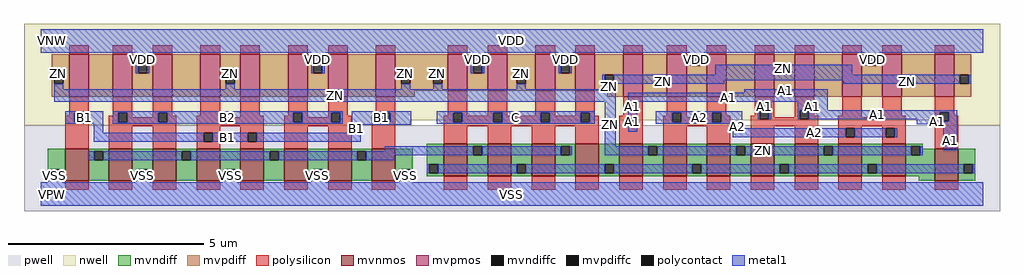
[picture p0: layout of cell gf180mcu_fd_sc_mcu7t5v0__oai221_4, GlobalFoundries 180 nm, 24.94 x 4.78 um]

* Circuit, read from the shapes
.subckt gf180mcu_fd_sc_mcu7t5v0__oai221_4 A1 A2 B1 B2 C ZN VDD VNW VPW VSS
XM1 n1 B1 VSS VPW nfet_06v0 w=0.82u l=0.6u m=4
XM2 VSS B2 n1 VPW nfet_06v0 w=0.82u l=0.6u m=4
XM3 n1 C n2 VPW nfet_06v0 w=0.82u l=0.6u m=4
XM4 ZN A1 n2 VPW nfet_06v0 w=0.82u l=0.6u m=4
XM5 n2 A2 ZN VPW nfet_06v0 w=0.82u l=0.6u m=4
XM6 n3 B1 ZN VNW pfet_06v0 w=1.095u l=0.5u
XM7 VDD B2 n3 VNW pfet_06v0 w=1.095u l=0.5u
XM8 n4 B2 VDD VNW pfet_06v0 w=1.095u l=0.5u
XM9 ZN B1 n4 VNW pfet_06v0 w=1.095u l=0.5u
XM10 n5 B1 ZN VNW pfet_06v0 w=1.095u l=0.5u
XM11 VDD B2 n5 VNW pfet_06v0 w=1.095u l=0.5u
XM12 n6 B2 VDD VNW pfet_06v0 w=1.095u l=0.5u
XM13 ZN B1 n6 VNW pfet_06v0 w=1.095u l=0.5u
XM14 VDD C ZN VNW pfet_06v0 w=0.935u l=0.5u m=4
XM15 n7 A1 ZN VNW pfet_06v0 w=1.095u l=0.5u
XM16 VDD A2 n7 VNW pfet_06v0 w=1.095u l=0.5u
XM17 n8 A2 VDD VNW pfet_06v0 w=1.095u l=0.5u
XM18 ZN A1 n8 VNW pfet_06v0 w=1.095u l=0.5u
XM19 n9 A1 ZN VNW pfet_06v0 w=1.095u l=0.5u
XM20 VDD A2 n9 VNW pfet_06v0 w=1.095u l=0.5u
XM21 n10 A2 VDD VNW pfet_06v0 w=1.095u l=0.5u
XM22 ZN A1 n10 VNW pfet_06v0 w=1.095u l=0.5u
.ends

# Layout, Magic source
magic
tech gf180mcuD
magscale 1 10
<< nwell >>
rect -86 377 4902 870
rect -86 352 1889 377
rect 4588 352 4902 377
<< pwell >>
rect -86 -86 4902 352
<< mvnmos >>
rect 124 68 244 232
rect 348 68 468 232
rect 572 68 692 232
rect 796 68 916 232
rect 1020 68 1140 232
rect 1244 68 1364 232
rect 1468 68 1588 232
rect 1692 68 1812 232
rect 2060 93 2180 257
rect 2284 93 2404 257
rect 2508 93 2628 257
rect 2732 93 2852 257
rect 2956 93 3076 257
rect 3180 93 3300 257
rect 3404 93 3524 257
rect 3628 93 3748 257
rect 3852 93 3972 257
rect 4076 93 4196 257
rect 4300 93 4420 257
rect 4568 68 4688 232
<< mvpmos >>
rect 144 497 244 716
rect 368 497 468 716
rect 572 497 672 716
rect 816 497 916 716
rect 1020 497 1120 716
rect 1264 497 1364 716
rect 1468 497 1568 716
rect 1712 497 1812 716
rect 2080 529 2180 716
rect 2284 529 2384 716
rect 2528 529 2628 716
rect 2732 529 2832 716
rect 2976 497 3076 716
rect 3200 497 3300 716
rect 3404 497 3504 716
rect 3648 497 3748 716
rect 3852 497 3952 716
rect 4096 497 4196 716
rect 4300 497 4400 716
rect 4568 497 4668 716
<< mvndiff >>
rect 36 127 124 232
rect 36 81 49 127
rect 95 81 124 127
rect 36 68 124 81
rect 244 219 348 232
rect 244 173 273 219
rect 319 173 348 219
rect 244 68 348 173
rect 468 127 572 232
rect 468 81 497 127
rect 543 81 572 127
rect 468 68 572 81
rect 692 219 796 232
rect 692 173 721 219
rect 767 173 796 219
rect 692 68 796 173
rect 916 127 1020 232
rect 916 81 945 127
rect 991 81 1020 127
rect 916 68 1020 81
rect 1140 219 1244 232
rect 1140 173 1169 219
rect 1215 173 1244 219
rect 1140 68 1244 173
rect 1364 127 1468 232
rect 1364 81 1393 127
rect 1439 81 1468 127
rect 1364 68 1468 81
rect 1588 219 1692 232
rect 1588 173 1617 219
rect 1663 173 1692 219
rect 1588 68 1692 173
rect 1812 127 1900 232
rect 1812 81 1841 127
rect 1887 81 1900 127
rect 1972 152 2060 257
rect 1972 106 1985 152
rect 2031 106 2060 152
rect 1972 93 2060 106
rect 2180 244 2284 257
rect 2180 198 2209 244
rect 2255 198 2284 244
rect 2180 93 2284 198
rect 2404 152 2508 257
rect 2404 106 2433 152
rect 2479 106 2508 152
rect 2404 93 2508 106
rect 2628 244 2732 257
rect 2628 198 2657 244
rect 2703 198 2732 244
rect 2628 93 2732 198
rect 2852 152 2956 257
rect 2852 106 2881 152
rect 2927 106 2956 152
rect 2852 93 2956 106
rect 3076 244 3180 257
rect 3076 198 3105 244
rect 3151 198 3180 244
rect 3076 93 3180 198
rect 3300 152 3404 257
rect 3300 106 3329 152
rect 3375 106 3404 152
rect 3300 93 3404 106
rect 3524 244 3628 257
rect 3524 198 3553 244
rect 3599 198 3628 244
rect 3524 93 3628 198
rect 3748 152 3852 257
rect 3748 106 3777 152
rect 3823 106 3852 152
rect 3748 93 3852 106
rect 3972 244 4076 257
rect 3972 198 4001 244
rect 4047 198 4076 244
rect 3972 93 4076 198
rect 4196 152 4300 257
rect 4196 106 4225 152
rect 4271 106 4300 152
rect 4196 93 4300 106
rect 4420 244 4508 257
rect 4420 198 4449 244
rect 4495 232 4508 244
rect 4495 198 4568 232
rect 4420 93 4568 198
rect 1812 68 1900 81
rect 4488 68 4568 93
rect 4688 152 4776 232
rect 4688 106 4717 152
rect 4763 106 4776 152
rect 4688 68 4776 106
<< mvpdiff >>
rect 56 611 144 716
rect 56 565 69 611
rect 115 565 144 611
rect 56 497 144 565
rect 244 497 368 716
rect 468 664 572 716
rect 468 618 497 664
rect 543 618 572 664
rect 468 497 572 618
rect 672 497 816 716
rect 916 611 1020 716
rect 916 565 945 611
rect 991 565 1020 611
rect 916 497 1020 565
rect 1120 497 1264 716
rect 1364 664 1468 716
rect 1364 618 1393 664
rect 1439 618 1468 664
rect 1364 497 1468 618
rect 1568 497 1712 716
rect 1812 611 2080 716
rect 1812 565 1841 611
rect 1887 565 2005 611
rect 2051 565 2080 611
rect 1812 529 2080 565
rect 2180 664 2284 716
rect 2180 618 2209 664
rect 2255 618 2284 664
rect 2180 529 2284 618
rect 2384 611 2528 716
rect 2384 565 2433 611
rect 2479 565 2528 611
rect 2384 529 2528 565
rect 2628 664 2732 716
rect 2628 618 2657 664
rect 2703 618 2732 664
rect 2628 529 2732 618
rect 2832 611 2976 716
rect 2832 565 2881 611
rect 2927 565 2976 611
rect 2832 529 2976 565
rect 1812 497 1912 529
rect 2896 497 2976 529
rect 3076 497 3200 716
rect 3300 703 3404 716
rect 3300 657 3329 703
rect 3375 657 3404 703
rect 3300 497 3404 657
rect 3504 497 3648 716
rect 3748 662 3852 716
rect 3748 616 3777 662
rect 3823 616 3852 662
rect 3748 497 3852 616
rect 3952 497 4096 716
rect 4196 703 4300 716
rect 4196 657 4225 703
rect 4271 657 4300 703
rect 4196 497 4300 657
rect 4400 497 4568 716
rect 4668 611 4756 716
rect 4668 565 4697 611
rect 4743 565 4756 611
rect 4668 497 4756 565
<< mvndiffc >>
rect 49 81 95 127
rect 273 173 319 219
rect 497 81 543 127
rect 721 173 767 219
rect 945 81 991 127
rect 1169 173 1215 219
rect 1393 81 1439 127
rect 1617 173 1663 219
rect 1841 81 1887 127
rect 1985 106 2031 152
rect 2209 198 2255 244
rect 2433 106 2479 152
rect 2657 198 2703 244
rect 2881 106 2927 152
rect 3105 198 3151 244
rect 3329 106 3375 152
rect 3553 198 3599 244
rect 3777 106 3823 152
rect 4001 198 4047 244
rect 4225 106 4271 152
rect 4449 198 4495 244
rect 4717 106 4763 152
<< mvpdiffc >>
rect 69 565 115 611
rect 497 618 543 664
rect 945 565 991 611
rect 1393 618 1439 664
rect 1841 565 1887 611
rect 2005 565 2051 611
rect 2209 618 2255 664
rect 2433 565 2479 611
rect 2657 618 2703 664
rect 2881 565 2927 611
rect 3329 657 3375 703
rect 3777 616 3823 662
rect 4225 657 4271 703
rect 4697 565 4743 611
<< polysilicon >>
rect 144 716 244 760
rect 368 716 468 760
rect 572 716 672 760
rect 816 716 916 760
rect 1020 716 1120 760
rect 1264 716 1364 760
rect 1468 716 1568 760
rect 1712 716 1812 760
rect 2080 716 2180 760
rect 2284 716 2384 760
rect 2528 716 2628 760
rect 2732 716 2832 760
rect 2976 716 3076 760
rect 3200 716 3300 760
rect 3404 716 3504 760
rect 3648 716 3748 760
rect 3852 716 3952 760
rect 4096 716 4196 760
rect 4300 716 4400 760
rect 4568 716 4668 760
rect 144 415 244 497
rect 144 402 171 415
rect 124 369 171 402
rect 217 369 244 415
rect 368 415 468 497
rect 368 402 395 415
rect 124 232 244 369
rect 348 369 395 402
rect 441 394 468 415
rect 572 415 672 497
rect 572 394 599 415
rect 441 369 599 394
rect 645 402 672 415
rect 816 402 916 497
rect 645 369 692 402
rect 348 348 692 369
rect 348 232 468 348
rect 572 232 692 348
rect 796 394 916 402
rect 1020 402 1120 497
rect 1264 415 1364 497
rect 1264 402 1291 415
rect 1020 394 1140 402
rect 796 348 1140 394
rect 796 314 916 348
rect 796 268 833 314
rect 879 268 916 314
rect 796 232 916 268
rect 1020 314 1140 348
rect 1020 268 1057 314
rect 1103 268 1140 314
rect 1020 232 1140 268
rect 1244 369 1291 402
rect 1337 394 1364 415
rect 1468 415 1568 497
rect 1468 394 1485 415
rect 1337 369 1485 394
rect 1531 402 1568 415
rect 1712 415 1812 497
rect 1712 402 1739 415
rect 1531 369 1588 402
rect 1244 348 1588 369
rect 1244 232 1364 348
rect 1468 232 1588 348
rect 1692 369 1739 402
rect 1785 369 1812 415
rect 2080 415 2180 529
rect 2080 402 2107 415
rect 1692 232 1812 369
rect 2060 369 2107 402
rect 2153 402 2180 415
rect 2284 415 2384 529
rect 2284 402 2311 415
rect 2153 369 2311 402
rect 2357 402 2384 415
rect 2528 415 2628 529
rect 2528 402 2555 415
rect 2357 369 2555 402
rect 2601 402 2628 415
rect 2732 415 2832 529
rect 2732 402 2759 415
rect 2601 369 2759 402
rect 2805 402 2832 415
rect 2976 402 3076 497
rect 3200 415 3300 497
rect 3200 402 3227 415
rect 2805 369 2852 402
rect 2060 348 2852 369
rect 2060 257 2180 348
rect 2284 257 2404 348
rect 2508 257 2628 348
rect 2732 257 2852 348
rect 2956 394 3076 402
rect 2956 348 3003 394
rect 3049 348 3076 394
rect 2956 257 3076 348
rect 3180 369 3227 402
rect 3273 394 3300 415
rect 3404 415 3504 497
rect 3404 394 3431 415
rect 3273 369 3431 394
rect 3477 402 3504 415
rect 3648 428 3748 497
rect 3648 402 3675 428
rect 3477 369 3524 402
rect 3180 348 3524 369
rect 3180 257 3300 348
rect 3404 257 3524 348
rect 3628 382 3675 402
rect 3721 394 3748 428
rect 3852 428 3952 497
rect 3852 394 3879 428
rect 3721 382 3879 394
rect 3925 402 3952 428
rect 4096 402 4196 497
rect 3925 382 3972 402
rect 3628 348 3972 382
rect 3628 257 3748 348
rect 3852 257 3972 348
rect 4076 394 4196 402
rect 4300 402 4400 497
rect 4568 418 4668 497
rect 4300 394 4420 402
rect 4076 348 4420 394
rect 4076 336 4196 348
rect 4076 290 4113 336
rect 4159 290 4196 336
rect 4076 257 4196 290
rect 4300 336 4420 348
rect 4300 290 4319 336
rect 4365 290 4420 336
rect 4300 257 4420 290
rect 4568 372 4595 418
rect 4641 402 4668 418
rect 4641 372 4688 402
rect 4568 232 4688 372
rect 124 24 244 68
rect 348 24 468 68
rect 572 24 692 68
rect 796 24 916 68
rect 1020 24 1140 68
rect 1244 24 1364 68
rect 1468 24 1588 68
rect 1692 24 1812 68
rect 2060 24 2180 93
rect 2284 24 2404 93
rect 2508 24 2628 93
rect 2732 24 2852 93
rect 2956 24 3076 93
rect 3180 24 3300 93
rect 3404 24 3524 93
rect 3628 24 3748 93
rect 3852 24 3972 93
rect 4076 24 4196 93
rect 4300 24 4420 93
rect 4568 24 4688 68
<< polycontact >>
rect 171 369 217 415
rect 395 369 441 415
rect 599 369 645 415
rect 833 268 879 314
rect 1057 268 1103 314
rect 1291 369 1337 415
rect 1485 369 1531 415
rect 1739 369 1785 415
rect 2107 369 2153 415
rect 2311 369 2357 415
rect 2555 369 2601 415
rect 2759 369 2805 415
rect 3003 348 3049 394
rect 3227 369 3273 415
rect 3431 369 3477 415
rect 3675 382 3721 428
rect 3879 382 3925 428
rect 4113 290 4159 336
rect 4319 290 4365 336
rect 4595 372 4641 418
<< metal1 >>
rect 0 724 4816 844
rect 486 664 554 724
rect 69 611 115 622
rect 486 618 497 664
rect 543 618 554 664
rect 1382 664 1450 724
rect 69 536 115 565
rect 945 611 991 622
rect 1382 618 1393 664
rect 1439 618 1450 664
rect 2198 664 2266 724
rect 945 536 991 565
rect 1841 611 1887 622
rect 1841 536 1887 565
rect 2005 611 2051 622
rect 2198 618 2209 664
rect 2255 618 2266 664
rect 2646 664 2714 724
rect 2005 536 2051 565
rect 2433 611 2479 622
rect 2646 618 2657 664
rect 2703 618 2714 664
rect 3318 703 3386 724
rect 3318 657 3329 703
rect 3375 657 3386 703
rect 4214 703 4282 724
rect 3447 616 3777 662
rect 3823 616 4147 662
rect 4214 657 4225 703
rect 4271 657 4282 703
rect 3447 611 4147 616
rect 2433 536 2479 565
rect 2870 565 2881 611
rect 2927 582 4697 611
rect 2927 565 3493 582
rect 4101 565 4697 582
rect 4743 565 4756 611
rect 2870 536 2938 565
rect 69 472 2938 536
rect 3594 519 4022 536
rect 124 415 318 424
rect 124 369 171 415
rect 217 369 318 415
rect 124 360 318 369
rect 368 415 1542 424
rect 368 369 395 415
rect 441 369 599 415
rect 645 369 1291 415
rect 1337 369 1485 415
rect 1531 369 1542 415
rect 368 360 1542 369
rect 1588 415 1894 424
rect 1588 369 1739 415
rect 1785 369 1894 415
rect 270 314 318 360
rect 1588 354 1894 369
rect 2023 415 2832 424
rect 2023 369 2107 415
rect 2153 369 2311 415
rect 2357 369 2555 415
rect 2601 369 2759 415
rect 2805 369 2832 415
rect 2023 360 2832 369
rect 1588 314 1634 354
rect 270 268 833 314
rect 879 268 1057 314
rect 1103 268 1634 314
rect 2881 244 2938 472
rect 3003 473 4022 519
rect 3003 394 3049 473
rect 3664 428 3732 473
rect 3143 415 3585 424
rect 3143 369 3227 415
rect 3273 369 3431 415
rect 3477 369 3585 415
rect 3664 382 3675 428
rect 3721 382 3732 428
rect 3868 428 4022 473
rect 3868 382 3879 428
rect 3925 418 4684 428
rect 3925 382 4595 418
rect 3143 360 3585 369
rect 3003 320 3049 348
rect 3535 336 3585 360
rect 4477 372 4595 382
rect 4641 372 4684 418
rect 4477 358 4684 372
rect 3535 290 4113 336
rect 4159 290 4319 336
rect 4365 290 4376 336
rect 1757 219 2209 244
rect 244 173 273 219
rect 319 173 721 219
rect 767 173 1169 219
rect 1215 173 1617 219
rect 1663 198 2209 219
rect 2255 198 2657 244
rect 2703 198 2714 244
rect 2881 198 3105 244
rect 3151 198 3553 244
rect 3599 198 4001 244
rect 4047 198 4449 244
rect 4495 198 4506 244
rect 4612 224 4684 358
rect 1663 173 1807 198
rect 38 81 49 127
rect 95 81 106 127
rect 38 60 106 81
rect 485 81 497 127
rect 543 81 554 127
rect 485 60 554 81
rect 933 81 945 127
rect 991 81 1002 127
rect 933 60 1002 81
rect 1381 81 1393 127
rect 1439 81 1450 127
rect 1381 60 1450 81
rect 1829 81 1841 127
rect 1887 81 1898 127
rect 1972 106 1985 152
rect 2031 106 2433 152
rect 2479 106 2881 152
rect 2927 106 3329 152
rect 3375 106 3777 152
rect 3823 106 4225 152
rect 4271 106 4717 152
rect 4763 106 4776 152
rect 1829 60 1898 81
rect 0 -60 4816 60
<< labels >>
flabel metal1 s 3594 519 4022 536 0 FreeSans 400 0 0 0 A1
port 1 nsew default input
flabel metal1 s 1588 360 1894 424 0 FreeSans 400 0 0 0 B1
port 3 nsew default input
flabel metal1 s 368 360 1542 424 0 FreeSans 400 0 0 0 B2
port 4 nsew default input
flabel metal1 s 2023 360 2832 424 0 FreeSans 400 0 0 0 C
port 5 nsew default input
flabel metal1 s 0 724 4816 844 0 FreeSans 400 0 0 0 VDD
port 7 nsew power bidirectional abutment
flabel metal1 s 1829 60 1898 127 0 FreeSans 400 0 0 0 VSS
port 10 nsew ground bidirectional abutment
flabel metal1 s 3447 622 4147 662 0 FreeSans 400 0 0 0 ZN
port 6 nsew default output
flabel metal1 s 3143 360 3585 424 0 FreeSans 400 0 0 0 A2
port 2 nsew default input
flabel nwell s 10 734 110 834 0 FreeSans 400 0 0 0 VNW
port 8 nsew power bidirectional
flabel pwell s 10 -50 110 50 0 FreeSans 400 0 0 0 VPW
port 9 nsew ground bidirectional
rlabel metal1 s 3003 473 4022 519 1 A1
port 1 nsew default input
rlabel metal1 s 3868 428 4022 473 1 A1
port 1 nsew default input
rlabel metal1 s 3664 428 3732 473 1 A1
port 1 nsew default input
rlabel metal1 s 3003 428 3049 473 1 A1
port 1 nsew default input
rlabel metal1 s 3868 382 4684 428 1 A1
port 1 nsew default input
rlabel metal1 s 3664 382 3732 428 1 A1
port 1 nsew default input
rlabel metal1 s 3003 382 3049 428 1 A1
port 1 nsew default input
rlabel metal1 s 4477 358 4684 382 1 A1
port 1 nsew default input
rlabel metal1 s 3003 358 3049 382 1 A1
port 1 nsew default input
rlabel metal1 s 4612 320 4684 358 1 A1
port 1 nsew default input
rlabel metal1 s 3003 320 3049 358 1 A1
port 1 nsew default input
rlabel metal1 s 4612 224 4684 320 1 A1
port 1 nsew default input
rlabel metal1 s 3535 336 3585 360 1 A2
port 2 nsew default input
rlabel metal1 s 3535 290 4376 336 1 A2
port 2 nsew default input
rlabel metal1 s 124 360 318 424 1 B1
port 3 nsew default input
rlabel metal1 s 1588 354 1894 360 1 B1
port 3 nsew default input
rlabel metal1 s 270 354 318 360 1 B1
port 3 nsew default input
rlabel metal1 s 1588 314 1634 354 1 B1
port 3 nsew default input
rlabel metal1 s 270 314 318 354 1 B1
port 3 nsew default input
rlabel metal1 s 270 268 1634 314 1 B1
port 3 nsew default input
rlabel metal1 s 3447 611 4147 622 1 ZN
port 6 nsew default output
rlabel metal1 s 2433 611 2479 622 1 ZN
port 6 nsew default output
rlabel metal1 s 2005 611 2051 622 1 ZN
port 6 nsew default output
rlabel metal1 s 1841 611 1887 622 1 ZN
port 6 nsew default output
rlabel metal1 s 945 611 991 622 1 ZN
port 6 nsew default output
rlabel metal1 s 69 611 115 622 1 ZN
port 6 nsew default output
rlabel metal1 s 2870 582 4756 611 1 ZN
port 6 nsew default output
rlabel metal1 s 2433 582 2479 611 1 ZN
port 6 nsew default output
rlabel metal1 s 2005 582 2051 611 1 ZN
port 6 nsew default output
rlabel metal1 s 1841 582 1887 611 1 ZN
port 6 nsew default output
rlabel metal1 s 945 582 991 611 1 ZN
port 6 nsew default output
rlabel metal1 s 69 582 115 611 1 ZN
port 6 nsew default output
rlabel metal1 s 4101 565 4756 582 1 ZN
port 6 nsew default output
rlabel metal1 s 2870 565 3493 582 1 ZN
port 6 nsew default output
rlabel metal1 s 2433 565 2479 582 1 ZN
port 6 nsew default output
rlabel metal1 s 2005 565 2051 582 1 ZN
port 6 nsew default output
rlabel metal1 s 1841 565 1887 582 1 ZN
port 6 nsew default output
rlabel metal1 s 945 565 991 582 1 ZN
port 6 nsew default output
rlabel metal1 s 69 565 115 582 1 ZN
port 6 nsew default output
rlabel metal1 s 2870 536 2938 565 1 ZN
port 6 nsew default output
rlabel metal1 s 2433 536 2479 565 1 ZN
port 6 nsew default output
rlabel metal1 s 2005 536 2051 565 1 ZN
port 6 nsew default output
rlabel metal1 s 1841 536 1887 565 1 ZN
port 6 nsew default output
rlabel metal1 s 945 536 991 565 1 ZN
port 6 nsew default output
rlabel metal1 s 69 536 115 565 1 ZN
port 6 nsew default output
rlabel metal1 s 69 472 2938 536 1 ZN
port 6 nsew default output
rlabel metal1 s 2881 244 2938 472 1 ZN
port 6 nsew default output
rlabel metal1 s 2881 198 4506 244 1 ZN
port 6 nsew default output
rlabel metal1 s 4214 657 4282 724 1 VDD
port 7 nsew power bidirectional abutment
rlabel metal1 s 3318 657 3386 724 1 VDD
port 7 nsew power bidirectional abutment
rlabel metal1 s 2646 657 2714 724 1 VDD
port 7 nsew power bidirectional abutment
rlabel metal1 s 2198 657 2266 724 1 VDD
port 7 nsew power bidirectional abutment
rlabel metal1 s 1382 657 1450 724 1 VDD
port 7 nsew power bidirectional abutment
rlabel metal1 s 486 657 554 724 1 VDD
port 7 nsew power bidirectional abutment
rlabel metal1 s 2646 618 2714 657 1 VDD
port 7 nsew power bidirectional abutment
rlabel metal1 s 2198 618 2266 657 1 VDD
port 7 nsew power bidirectional abutment
rlabel metal1 s 1382 618 1450 657 1 VDD
port 7 nsew power bidirectional abutment
rlabel metal1 s 486 618 554 657 1 VDD
port 7 nsew power bidirectional abutment
rlabel metal1 s 1381 60 1450 127 1 VSS
port 10 nsew ground bidirectional abutment
rlabel metal1 s 933 60 1002 127 1 VSS
port 10 nsew ground bidirectional abutment
rlabel metal1 s 485 60 554 127 1 VSS
port 10 nsew ground bidirectional abutment
rlabel metal1 s 38 60 106 127 1 VSS
port 10 nsew ground bidirectional abutment
rlabel metal1 s 0 -60 4816 60 1 VSS
port 10 nsew ground bidirectional abutment
<< properties >>
string FIXED_BBOX 0 0 4816 784
string GDS_END 123072
string GDS_FILE $PDKPATH/libs.ref/gf180mcu_fd_sc_mcu7t5v0/gds/gf180mcu_fd_sc_mcu7t5v0.gds
string GDS_START 114708
string LEFclass core
string LEFsite GF018hv5v_mcu_sc7
string LEFsymmetry X Y
<< end >>
